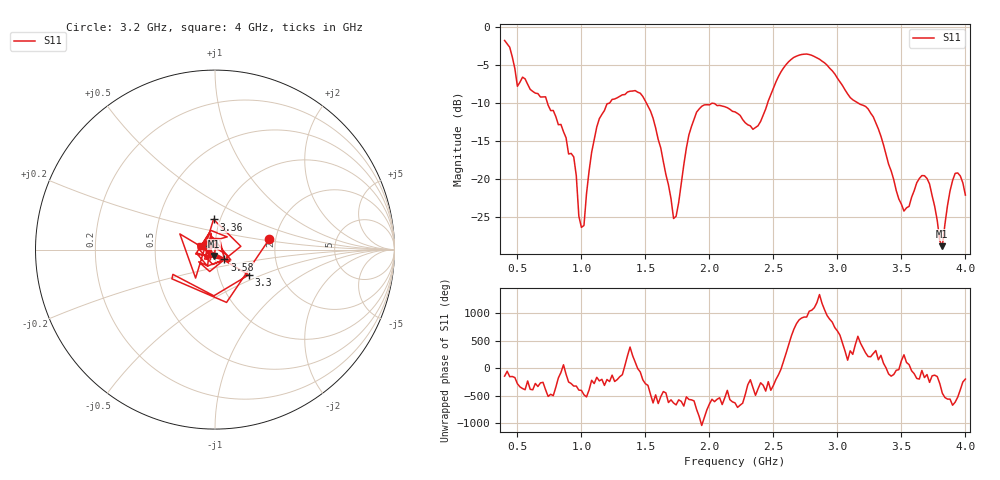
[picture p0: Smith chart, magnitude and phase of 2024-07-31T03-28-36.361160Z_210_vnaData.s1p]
!Created with skrf (http://scikit-rf.org).
# Hz S RI R 50.0
!freq ReS11 ImS11
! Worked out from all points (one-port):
!   181 points, 400 MHz to 4 GHz, reference 50 ohm
!   lowest |S11| = -28.8 dB at 3.82 GHz (marker M1), VSWR 1.08, Z = 49.5 - j3.58 ohm
!   |S11| at or under -10 dB: 735.3 MHz to 1.218 GHz (482.2 MHz wide, 49.4 % of centre); 1.508 GHz to 2.02 GHz (511.7 MHz wide, 29 % of centre); 3.164 GHz to end of sweep (the widest 3 of 4)
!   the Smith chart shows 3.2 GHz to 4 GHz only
!   S11 on the Smith chart (normalised r, x): 3.2 GHz: 1.84, +0.23; 3.3 GHz: 1.39, -0.42; 3.36 GHz: 0.93, +0.32; 3.58 GHz: 1.10, -0.12; 4 GHz: 0.86, +0.04
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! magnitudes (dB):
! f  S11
! 400 MHz  -1.7
! 500 MHz  -7.8
! 720 MHz  -9.2
! 860 MHz  -13.7
! 940 MHz  -17.1
! 1 GHz  -26.3
! 1.12 GHz  -13.1
! 1.3 GHz  -9.1
! 1.48 GHz  -9.1
! 1.62 GHz  -15.9
! 1.72 GHz  -25.2
! 1.76 GHz  -23.1
! 1.9 GHz  -11.2
! 2.2 GHz  -11.1
! 2.38 GHz  -13.0
! 2.66 GHz  -4.0
! 2.86 GHz  -4.2
! 3.1 GHz  -9.3
! 3.2 GHz  -10.3
! 3.3 GHz  -12.6
! 3.36 GHz  -15.5
! 3.48 GHz  -22.6
! 3.56 GHz  -23.6
! 3.58 GHz  -22.4
! 3.7 GHz  -19.9
! 3.82 GHz  -28.8
! 3.92 GHz  -19.2
! 4 GHz  -22.1
